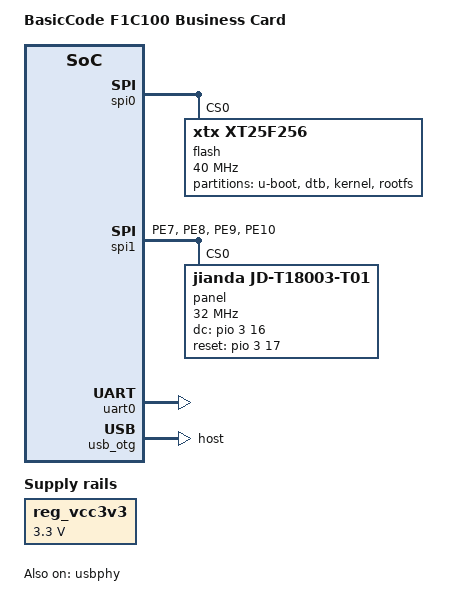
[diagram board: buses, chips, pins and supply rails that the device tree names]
// SPDX-License-Identifier: (GPL-2.0+ OR X11)
/*
 * Copyright 2018 Icenowy Zheng <icenowy@aosc.io>
 */

/dts-v1/;
#include "f1c100-business-card.dtsi"
#include <dt-bindings/gpio/gpio.h>

/ {
	model = "BasicCode F1C100 Business Card";
	compatible = "allwinner,suniv-f1c100s";

	aliases {
		serial0 = &uart0;
	};

	chosen {
		stdout-path = "serial0:115200n8";
	};

	reg_vcc3v3: vcc3v3 {
		compatible = "regulator-fixed";
		regulator-name = "vcc3v3";
		regulator-min-microvolt = <3300000>;
		regulator-max-microvolt = <3300000>;
		regulator-always-on;
	};
};

/*
 * Pin Definitions
 */
&pio {			
	spi1_pc_pins: spi1-pc-pins {
		pins = "PE7", "PE8", "PE9", "PE10";
		function = "spi1";
	};
};

/*
&be0 {
	status = "okay";
};

&de {
	status = "okay";
};
*/

&spi0 {
	pinctrl-names = "default";
	pinctrl-0 = <&spi0_pins_a>;
	status = "okay";

	flash@0 {
		#address-cells = <1>;
		#size-cells = <1>;
		compatible = "xtx,xt25f256", "jedec,spi-nor";
		reg = <0>;
		spi-max-frequency = <40000000>;

		partitions {
			compatible = "fixed-partitions";
			#address-cells = <1>;
			#size-cells = <1>;

			partition@0 {
				label = "u-boot";
				reg = <0x000000 0x100000>;
				read-only;
			};

			partition@1 {
				label = "dtb";
				reg = <0x100000 0x10000>;
				read-only;
			};

			partition@2 {
				label = "kernel";
				reg = <0x110000 0x4F0000>;
				read-only;
			};

			partition@3 {
				label = "rootfs";
				reg = <0x600000 0x1A00000>;
			};
		};
	};
};

&spi1 {
	pinctrl-names = "default";
	pinctrl-0 = <&spi1_pc_pins>;
	status = "okay";

	panel: panel@0{
		compatible = "jianda,jd-t18003-t01", "sitronix,st7735r";
		reg = <0>;
		spi-max-frequency = <32000000>;
		dc-gpios = <&pio 3 16 GPIO_ACTIVE_HIGH>; //PD16
		reset-gpios = <&pio 3 17 GPIO_ACTIVE_HIGH>; //PD17
		rotation = <270>;
	};
};

&uart0 {
	pinctrl-names = "default";
	pinctrl-0 = <&uart0_pe_pins>;
	status = "okay";
};

&otg_sram {
	status = "okay";
};

&usb_otg {
	dr_mode = "host";
	status = "okay";
};

&usbphy {
	usb0_id_det = <&pio 4 2 GPIO_ACTIVE_HIGH>; /* PE3 */
	status = "okay";
};
